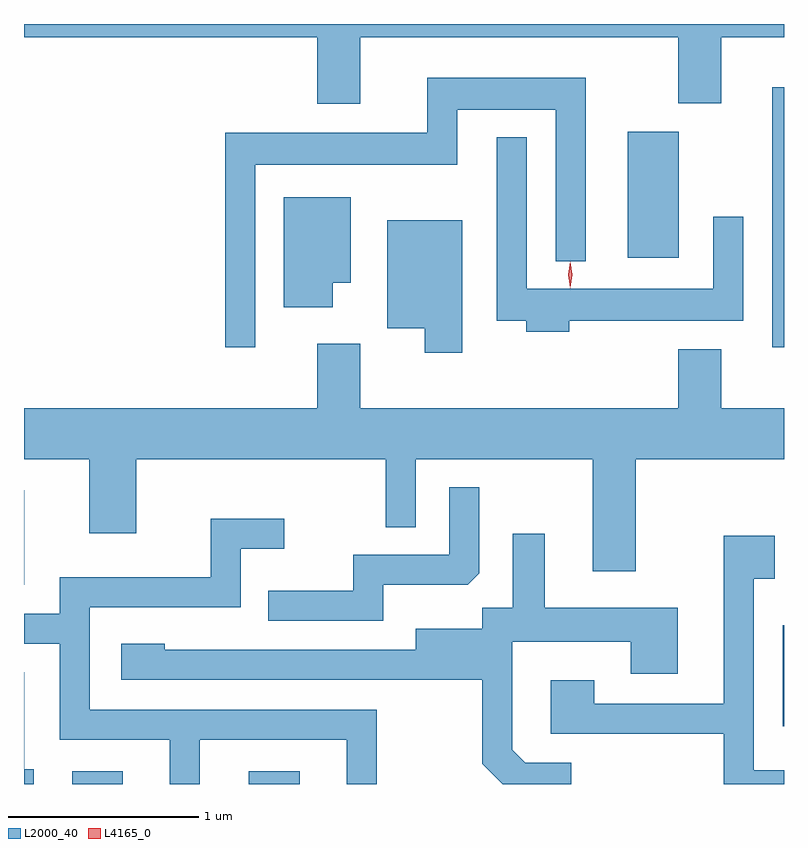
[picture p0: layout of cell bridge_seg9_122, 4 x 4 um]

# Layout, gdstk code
import gdstk
lib = gdstk.Library(unit=1e-6, precision=1e-09)
def R(c, l, rs):  # rectangles x0, y0, x1, y1
    for r in rs: c.add(gdstk.rectangle(r[:2], r[2:], *l))
def P(c, l, *ps):  # polygons
    for p in ps: c.add(gdstk.Polygon(p, *l))
L2000_40 = (2000, 40)
L4165_0 = (4165, 0)

bridge_seg9_122 = lib.new_cell('bridge_seg9_122')
R(bridge_seg9_122, L2000_40, [(1369.321,2065.587,1369.589,2065.654), (1370.251,2065.587,1370.519,2065.654), (1373.061,2065.891,1373.068,2066.423), (1369.068,2066.636,1369.069,2067.134), (1373.006,2067.887,1373.068,2069.254), (1372.246,2068.356,1372.514,2069.019)])
P(bridge_seg9_122, L2000_40, [(1370.839,2069.516),(1372.511,2069.516),(1372.511,2069.171),(1372.739,2069.171),(1372.739,2069.516),(1373.068,2069.516),(1373.068,2069.587),(1369.068,2069.587),(1369.068,2069.516),(1370.611,2069.516),(1370.611,2069.166),(1370.839,2069.166)],
  [(1370.284,2068.846),(1371.349,2068.846),(1371.349,2069.136),(1371.866,2069.136),(1371.866,2068.338),(1372.024,2068.338),(1372.024,2069.304),(1371.191,2069.304),(1371.191,2069.014),(1370.126,2069.014),(1370.126,2067.887),(1370.284,2067.887)],
  [(1371.939,2068.026),(1372.854,2068.026),(1372.854,2068.573),(1372.696,2068.573),(1372.696,2068.194),(1371.714,2068.194),(1371.714,2068.992),(1371.556,2068.992),(1371.556,2068.026),(1371.711,2068.026),(1371.711,2067.966),(1371.939,2067.966)],
  [(1370.694,2068.226),(1370.789,2068.226),(1370.789,2068.674),(1370.436,2068.674),(1370.436,2068.096),(1370.694,2068.096)],
  [(1371.374,2068.554),(1370.981,2068.554),(1370.981,2067.986),(1371.176,2067.986),(1371.176,2067.856),(1371.374,2067.856)],
  [(1372.289,2067.296),(1373.068,2067.296),(1373.068,2067.564),(1372.739,2067.564),(1372.739,2067.874),(1372.511,2067.874),(1372.511,2067.564),(1370.839,2067.564),(1370.839,2067.904),(1370.611,2067.904),(1370.611,2067.564),(1369.068,2067.564),(1369.068,2067.296),(1369.411,2067.296),(1369.411,2066.906),(1369.659,2066.906),(1369.659,2067.296),(1370.971,2067.296),(1370.971,2066.938),(1371.129,2066.938),(1371.129,2067.296),(1372.061,2067.296),(1372.061,2066.706),(1372.289,2066.706)],
  [(1370.959,2066.636),(1371.404,2066.636),(1371.464,2066.697),(1371.464,2067.148),(1371.306,2067.148),(1371.306,2066.794),(1370.801,2066.794),(1370.801,2066.604),(1370.353,2066.604),(1370.353,2066.446),(1370.959,2066.446)],
  [(1369.994,2065.821),(1370.766,2065.821),(1370.766,2065.587),(1370.924,2065.587),(1370.924,2065.979),(1369.414,2065.979),(1369.414,2066.516),(1370.209,2066.516),(1370.209,2066.826),(1370.438,2066.826),(1370.438,2066.984),(1370.051,2066.984),(1370.051,2066.674),(1369.256,2066.674),(1369.256,2066.484),(1369.068,2066.484),(1369.068,2066.326),(1369.256,2066.326),(1369.256,2065.821),(1369.836,2065.821),(1369.836,2065.587),(1369.994,2065.587)],
  [(1371.948,2065.699),(1371.707,2065.699),(1371.639,2065.767),(1371.639,2066.336),(1372.261,2066.336),(1372.261,2066.166),(1372.509,2066.166),(1372.509,2066.514),(1371.809,2066.514),(1371.809,2066.903),(1371.641,2066.903),(1371.641,2066.514),(1371.481,2066.514),(1371.481,2066.404),(1371.131,2066.404),(1371.131,2066.294),(1369.809,2066.294),(1369.809,2066.324),(1369.581,2066.324),(1369.581,2066.136),(1371.481,2066.136),(1371.481,2065.693),(1371.588,2065.587),(1371.948,2065.587)],
  [(1373.068,2065.659),(1372.909,2065.659),(1372.909,2066.666),(1373.019,2066.666),(1373.019,2066.894),(1372.751,2066.894),(1372.751,2066.009),(1372.069,2066.009),(1372.069,2066.134),(1371.841,2066.134),(1371.841,2065.851),(1372.751,2065.851),(1372.751,2065.587),(1373.068,2065.587)],
  [(1369.118,2065.664),(1369.069,2065.664),(1369.069,2066.174),(1369.068,2066.174),(1369.068,2065.587),(1369.118,2065.587)])
P(bridge_seg9_122, L4165_0, [(1371.943,2068.197),(1371.942,2068.198),(1371.933,2068.267),(1371.942,2068.336),(1371.943,2068.336),(1371.944,2068.336),(1371.953,2068.267),(1371.944,2068.198)],
  [(1371.942,2068.2),(1371.933,2068.266),(1371.942,2068.333),(1371.943,2068.333),(1371.944,2068.333),(1371.953,2068.266),(1371.944,2068.2),(1371.943,2068.2)])

lib.write_gds('bridge_seg9_122.gds')
